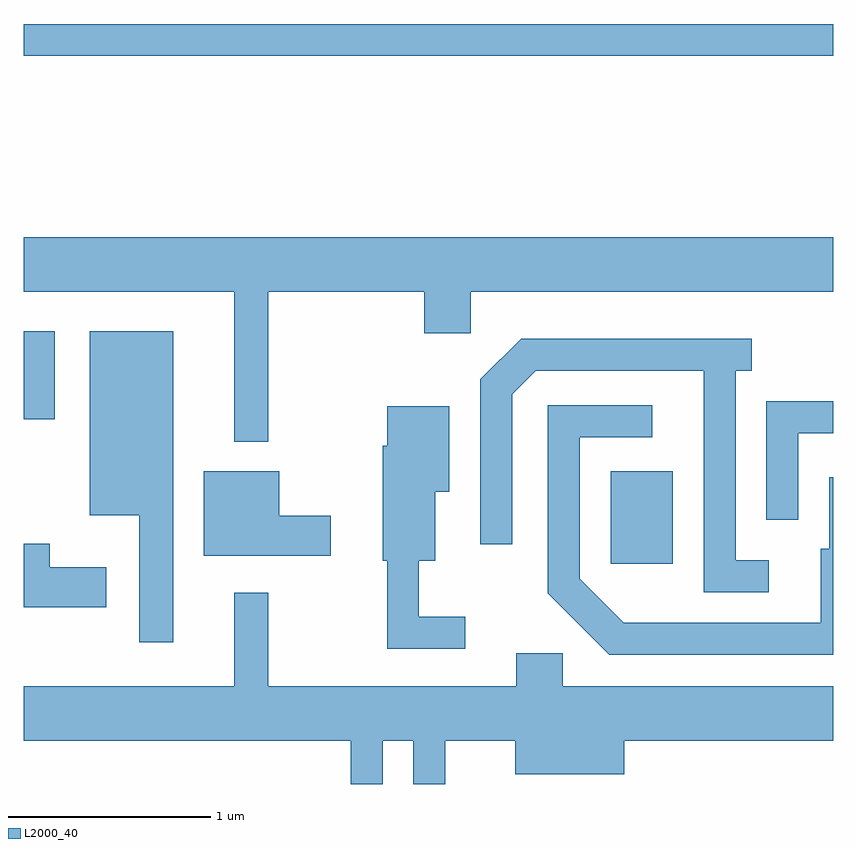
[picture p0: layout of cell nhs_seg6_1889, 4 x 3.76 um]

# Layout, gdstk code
import gdstk
lib = gdstk.Library(unit=1e-6, precision=1e-09)
def R(c, l, rs):  # rectangles x0, y0, x1, y1
    for r in rs: c.add(gdstk.rectangle(r[:2], r[2:], *l))
def P(c, l, *ps):  # polygons
    for p in ps: c.add(gdstk.Polygon(p, *l))
L2000_40 = (2000, 40)

nhs_seg6_1889 = lib.new_cell('nhs_seg6_1889')
R(nhs_seg6_1889, L2000_40, [(244.511,1655.251,244.819,1655.709), (241.611,1655.966,241.764,1656.399), (241.611,1657.761,245.611,1657.919)])
P(nhs_seg6_1889, L2000_40, [(242.819,1656.596),(243.591,1656.596),(243.591,1656.391),(243.819,1656.391),(243.819,1656.596),(245.611,1656.596),(245.611,1656.864),(241.611,1656.864),(241.611,1656.596),(242.651,1656.596),(242.651,1655.853),(242.819,1655.853)],
  [(242.349,1656.399),(241.936,1656.399),(241.936,1655.491),(242.181,1655.491),(242.181,1654.863),(242.349,1654.863)],
  [(245.293,1655.269),(245.129,1655.269),(245.129,1656.206),(245.208,1656.206),(245.208,1656.364),(244.069,1656.364),(243.866,1656.162),(243.866,1655.348),(244.024,1655.348),(244.024,1656.089),(244.142,1656.206),(244.971,1656.206),(244.971,1655.111),(245.293,1655.111)],
  [(245.439,1655.896),(245.611,1655.896),(245.611,1656.054),(245.281,1656.054),(245.281,1655.468),(245.439,1655.468)],
  [(245.611,1655.679),(245.591,1655.679),(245.591,1655.324),(245.551,1655.324),(245.551,1654.959),(244.577,1654.959),(244.359,1655.177),(244.359,1655.876),(244.718,1655.876),(244.718,1656.034),(244.201,1656.034),(244.201,1655.104),(244.504,1654.801),(245.611,1654.801)],
  [(243.793,1654.989),(243.564,1654.989),(243.564,1655.266),(243.644,1655.266),(243.644,1655.606),(243.714,1655.606),(243.714,1656.029),(243.406,1656.029),(243.406,1655.834),(243.386,1655.834),(243.386,1655.266),(243.406,1655.266),(243.406,1654.831),(243.793,1654.831)],
  [(243.129,1655.489),(242.874,1655.489),(242.874,1655.709),(242.501,1655.709),(242.501,1655.291),(243.129,1655.291)],
  [(242.019,1655.234),(241.739,1655.234),(241.739,1655.349),(241.611,1655.349),(241.611,1655.036),(242.019,1655.036)],
  [(243.384,1654.376),(243.536,1654.376),(243.536,1654.162),(243.694,1654.162),(243.694,1654.376),(244.041,1654.376),(244.041,1654.211),(244.579,1654.211),(244.579,1654.376),(245.611,1654.376),(245.611,1654.644),(244.274,1654.644),(244.274,1654.809),(244.046,1654.809),(244.046,1654.644),(242.819,1654.644),(242.819,1655.108),(242.651,1655.108),(242.651,1654.644),(241.611,1654.644),(241.611,1654.376),(243.226,1654.376),(243.226,1654.162),(243.384,1654.162)])

lib.write_gds('nhs_seg6_1889.gds')
